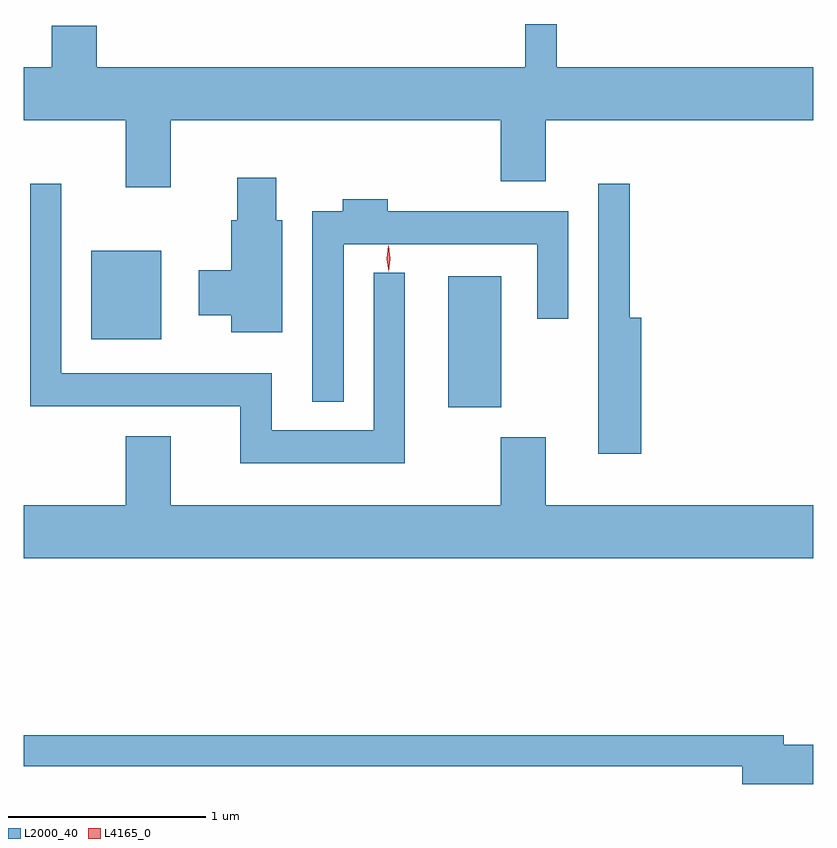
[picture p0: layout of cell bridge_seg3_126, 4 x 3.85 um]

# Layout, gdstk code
import gdstk
lib = gdstk.Library(unit=1e-6, precision=1e-09)
def R(c, l, rs):  # rectangles x0, y0, x1, y1
    for r in rs: c.add(gdstk.rectangle(r[:2], r[2:], *l))
def P(c, l, *ps):  # polygons
    for p in ps: c.add(gdstk.Polygon(p, *l))
L2000_40 = (2000, 40)
L4165_0 = (4165, 0)

bridge_seg3_126 = lib.new_cell('bridge_seg3_126')
R(bridge_seg3_126, L2000_40, [(883.476,1231.121,883.744,1231.784), (881.666,1231.466,882.019,1231.914)])
P(bridge_seg3_126, L2000_40, [(882.069,1232.576),(883.741,1232.576),(883.741,1232.266),(883.969,1232.266),(883.969,1232.576),(885.324,1232.576),(885.324,1232.844),(884.024,1232.844),(884.024,1233.063),(883.866,1233.063),(883.866,1232.844),(881.694,1232.844),(881.694,1233.054),(881.466,1233.054),(881.466,1232.844),(881.324,1232.844),(881.324,1232.576),(881.841,1232.576),(881.841,1232.236),(882.069,1232.236)],
  [(882.634,1232.069),(882.604,1232.069),(882.604,1232.284),(882.406,1232.284),(882.406,1232.069),(882.376,1232.069),(882.376,1231.814),(882.211,1231.814),(882.211,1231.586),(882.376,1231.586),(882.376,1231.501),(882.634,1231.501)],
  [(884.454,1231.574),(884.394,1231.574),(884.394,1232.253),(884.236,1232.253),(884.236,1230.886),(884.454,1230.886)],
  [(883.254,1231.803),(883.096,1231.803),(883.096,1231.004),(882.579,1231.004),(882.579,1231.294),(881.514,1231.294),(881.514,1232.253),(881.356,1232.253),(881.356,1231.126),(882.421,1231.126),(882.421,1230.836),(883.254,1230.836)],
  [(882.944,1231.946),(883.926,1231.946),(883.926,1231.568),(884.084,1231.568),(884.084,1232.114),(883.169,1232.114),(883.169,1232.174),(882.941,1232.174),(882.941,1232.114),(882.786,1232.114),(882.786,1231.148),(882.944,1231.148)],
  [(885.324,1230.624),(883.969,1230.624),(883.969,1230.969),(883.741,1230.969),(883.741,1230.624),(882.069,1230.624),(882.069,1230.974),(881.841,1230.974),(881.841,1230.624),(881.324,1230.624),(881.324,1230.356),(885.324,1230.356)],
  [(885.324,1229.409),(885.174,1229.409),(885.174,1229.459),(881.324,1229.459),(881.324,1229.301),(884.966,1229.301),(884.966,1229.211),(885.324,1229.211)])
P(bridge_seg3_126, L4165_0, [(883.172,1231.807),(883.172,1231.808),(883.162,1231.874),(883.171,1231.94),(883.172,1231.94),(883.172,1231.94),(883.182,1231.874),(883.173,1231.808)])

lib.write_gds('bridge_seg3_126.gds')
